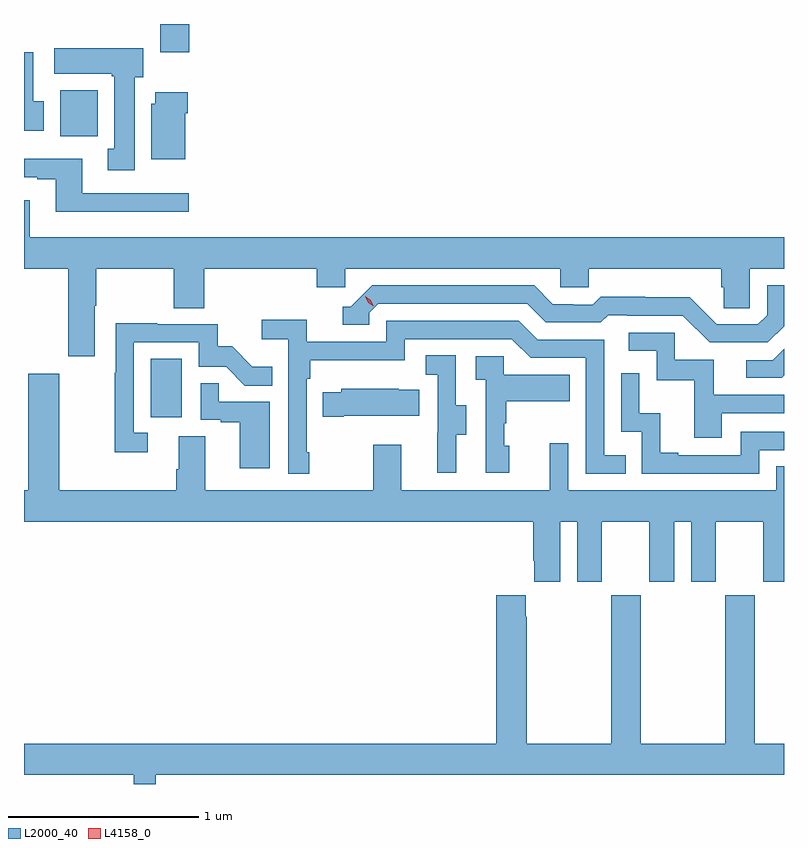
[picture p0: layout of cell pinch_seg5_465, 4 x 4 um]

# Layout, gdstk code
import gdstk
lib = gdstk.Library(unit=1e-6, precision=1e-09)
def R(c, l, rs):  # rectangles x0, y0, x1, y1
    for r in rs: c.add(gdstk.rectangle(r[:2], r[2:], *l))
def P(c, l, *ps):  # polygons
    for p in ps: c.add(gdstk.Polygon(p, *l))
L2000_40 = (2000, 40)
L4158_0 = (4158, 0)

pinch_seg5_465 = lib.new_cell('pinch_seg5_465')
R(pinch_seg5_465, L2000_40, [(890.372,859.974,890.536,860.281), (889.895,861.452,890.092,861.694), (890.423,861.894,890.576,862.043)])
P(pinch_seg5_465, L2000_40, [(890.287,861.762),(890.332,861.762),(890.332,861.916),(889.863,861.916),(889.863,861.782),(890.167,861.782),(890.167,861.769),(890.18,861.769),(890.18,861.386),(890.147,861.386),(890.147,861.273),(890.287,861.273)],
  [(889.81,861.636),(889.753,861.636),(889.753,861.895),(889.705,861.895),(889.705,861.48),(889.81,861.48)],
  [(890.554,861.572),(890.567,861.572),(890.567,861.685),(890.396,861.685),(890.396,861.624),(890.375,861.624),(890.375,861.332),(890.554,861.332)],
  [(890.572,861.153),(890.011,861.153),(890.011,861.334),(889.705,861.334),(889.705,861.237),(889.775,861.237),(889.775,861.225),(889.871,861.225),(889.871,861.056),(890.572,861.056)],
  [(890.077,860.56),(890.085,860.56),(890.085,860.756),(890.494,860.756),(890.494,860.548),(890.654,860.548),(890.654,860.756),(891.245,860.756),(891.245,860.658),(891.396,860.658),(891.396,860.756),(892.527,860.756),(892.527,860.658),(892.677,860.658),(892.677,860.756),(893.375,860.756),(893.375,860.658),(893.389,860.658),(893.389,860.548),(893.526,860.548),(893.526,860.756),(893.705,860.756),(893.705,860.92),(889.735,860.92),(889.735,861.115),(889.705,861.115),(889.705,860.756),(889.937,860.756),(889.937,860.295),(890.077,860.295)],
  [(893.705,860.453),(893.705,860.667),(893.616,860.667),(893.616,860.511),(893.568,860.463),(893.352,860.463),(893.21,860.605),(892.974,860.605),(892.974,860.608),(892.741,860.608),(892.699,860.565),(892.596,860.565),(892.596,860.568),(892.489,860.568),(892.39,860.667),(891.537,860.667),(891.426,860.556),(891.383,860.556),(891.383,860.46),(891.522,860.46),(891.522,860.523),(891.57,860.571),(892.353,860.571),(892.452,860.472),(892.741,860.472),(892.78,860.511),(892.879,860.511),(892.879,860.508),(893.172,860.508),(893.313,860.367),(893.619,860.367)],
  [(891.205,859.789),(891.192,859.789),(891.192,860.177),(891.212,860.177),(891.212,860.273),(891.708,860.273),(891.708,860.385),(892.272,860.385),(892.371,860.286),(892.662,860.286),(892.662,859.677),(892.871,859.677),(892.871,859.773),(892.758,859.773),(892.758,860.382),(892.408,860.382),(892.309,860.481),(891.612,860.481),(891.612,860.37),(891.194,860.37),(891.194,860.486),(890.955,860.486),(890.955,860.384),(891.096,860.384),(891.096,859.677),(891.205,859.677)],
  [(890.356,859.893),(890.283,859.893),(890.283,860.367),(890.625,860.367),(890.625,860.238),(890.769,860.238),(890.867,860.14),(891.011,860.14),(891.011,860.239),(890.907,860.239),(890.8,860.346),(890.724,860.346),(890.724,860.463),(890.405,860.463),(890.405,860.468),(890.187,860.468),(890.187,860.207),(890.182,860.207),(890.182,859.788),(890.356,859.788)],
  [(893.377,859.995),(893.705,859.995),(893.705,860.091),(893.335,860.091),(893.335,860.277),(893.13,860.277),(893.13,860.418),(892.887,860.418),(892.887,860.322),(893.034,860.322),(893.034,860.169),(893.233,860.169),(893.233,859.866),(893.377,859.866)],
  [(893.705,860.194),(893.705,860.333),(893.646,860.274),(893.505,860.274),(893.505,860.181),(893.692,860.181)],
  [(891.979,859.882),(892.033,859.882),(892.033,860.037),(891.978,860.037),(891.978,860.3),(891.819,860.3),(891.819,860.197),(891.882,860.197),(891.882,859.893),(891.881,859.893),(891.881,859.68),(891.979,859.68)],
  [(892.258,859.824),(892.233,859.824),(892.233,859.943),(892.243,859.943),(892.243,860.057),(892.577,860.057),(892.577,860.197),(892.23,860.197),(892.23,860.295),(892.083,860.295),(892.083,860.171),(892.134,860.171),(892.134,859.68),(892.258,859.68)],
  [(893.574,859.8),(893.705,859.8),(893.705,859.896),(893.478,859.896),(893.478,859.773),(893.149,859.773),(893.149,859.786),(893.054,859.786),(893.054,859.994),(892.944,859.994),(892.944,860.206),(892.848,860.206),(892.848,859.896),(892.956,859.896),(892.956,859.677),(893.574,859.677)],
  [(892.528,859.424),(892.616,859.424),(892.616,859.107),(892.747,859.107),(892.747,859.424),(892.997,859.424),(892.997,859.107),(893.128,859.107),(893.128,859.424),(893.216,859.424),(893.216,859.107),(893.347,859.107),(893.347,859.424),(893.597,859.424),(893.597,859.107),(893.705,859.107),(893.705,859.715),(893.664,859.715),(893.664,859.588),(892.569,859.588),(892.569,859.837),(892.472,859.837),(892.472,859.588),(891.691,859.588),(891.691,859.828),(891.544,859.828),(891.544,859.588),(890.659,859.588),(890.659,859.874),(890.519,859.874),(890.519,859.7),(890.507,859.7),(890.507,859.588),(889.891,859.588),(889.891,860.203),(889.727,860.203),(889.727,859.588),(889.705,859.588),(889.705,859.424),(892.385,859.424),(892.385,859.219),(892.391,859.219),(892.391,859.107),(892.528,859.107)],
  [(890.998,860.055),(890.729,860.055),(890.729,860.153),(890.634,860.153),(890.634,859.959),(890.741,859.959),(890.741,859.947),(890.84,859.947),(890.84,859.704),(890.998,859.704)],
  [(891.388,859.982),(891.785,859.982),(891.785,860.119),(891.677,860.119),(891.677,860.122),(891.375,860.122),(891.375,860.104),(891.277,860.104),(891.277,859.975),(891.388,859.975)],
  [(890.399,858.092),(893.705,858.092),(893.705,858.256),(893.55,858.256),(893.55,859.036),(893.395,859.036),(893.395,858.256),(892.95,858.256),(892.95,859.036),(892.795,859.036),(892.795,858.256),(892.35,858.256),(892.35,858.923),(892.345,858.923),(892.345,859.036),(892.19,859.036),(892.19,858.256),(889.705,858.256),(889.705,858.092),(890.283,858.092),(890.283,858.043),(890.399,858.043)])
P(pinch_seg5_465, L4158_0, [(891.546,860.557),(891.516,860.577),(891.5,860.61),(891.5,860.61),(891.501,860.61),(891.531,860.59),(891.546,860.558),(891.546,860.557)])

lib.write_gds('pinch_seg5_465.gds')
